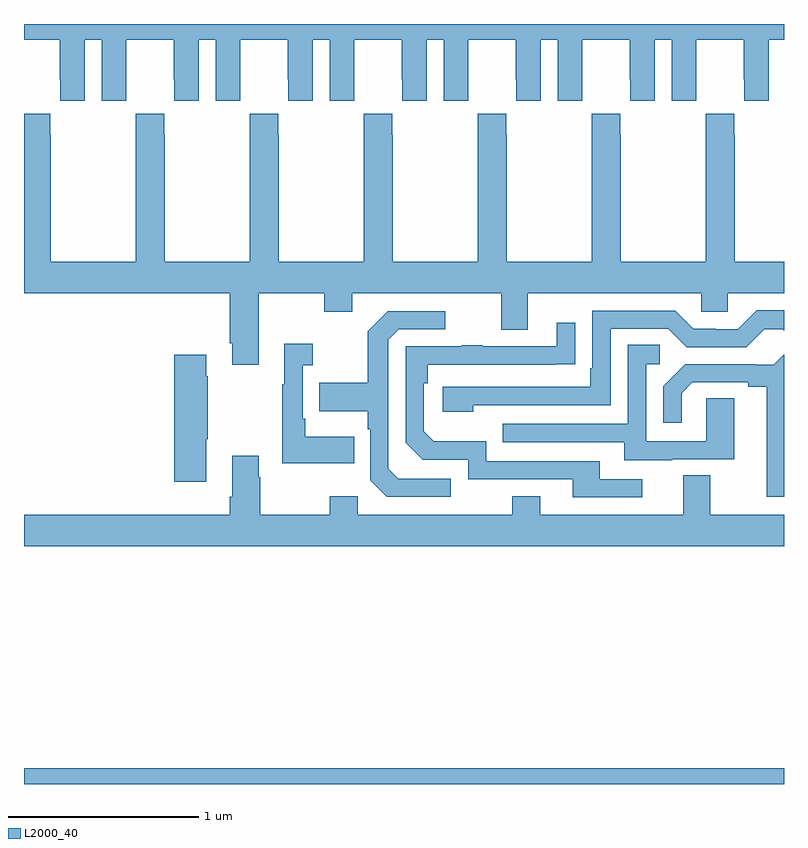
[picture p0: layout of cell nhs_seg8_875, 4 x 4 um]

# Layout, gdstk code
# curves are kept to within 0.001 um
import gdstk
lib = gdstk.Library(unit=1e-6, precision=1e-09)
def R(c, l, rs):  # rectangles x0, y0, x1, y1
    for r in rs: c.add(gdstk.rectangle(r[:2], r[2:], *l))
def P(c, l, *ps):  # polygons
    for p in ps: c.add(gdstk.Polygon(p, *l))
L2000_40 = (2000, 40)

nhs_seg8_875 = lib.new_cell('nhs_seg8_875')
R(nhs_seg8_875, L2000_40, [(167,1129.9,171,1129.984)])
P(nhs_seg8_875, L2000_40, [(167.32,1133.816),(167.408,1133.816),(167.408,1133.496),(167.538,1133.496),(167.538,1133.608),(167.539,1133.608),(167.539,1133.816),(167.789,1133.816),(167.789,1133.608),(167.79,1133.608),(167.79,1133.496),(167.92,1133.496),(167.92,1133.816),(168.008,1133.816),(168.008,1133.496),(168.138,1133.496),(168.138,1133.608),(168.139,1133.608),(168.139,1133.816),(168.389,1133.816),(168.389,1133.608),(168.39,1133.608),(168.39,1133.496),(168.52,1133.496),(168.52,1133.816),(168.608,1133.816),(168.608,1133.496),(168.738,1133.496),(168.738,1133.608),(168.739,1133.608),(168.739,1133.816),(168.989,1133.816),(168.989,1133.608),(168.99,1133.608),(168.99,1133.496),(169.12,1133.496),(169.12,1133.816),(169.208,1133.816),(169.208,1133.496),(169.338,1133.496),(169.338,1133.608),(169.339,1133.608),(169.339,1133.816),(169.589,1133.816),(169.589,1133.608),(169.59,1133.608),(169.59,1133.496),(169.72,1133.496),(169.72,1133.816),(169.808,1133.816),(169.808,1133.496),(169.938,1133.496),(169.938,1133.608),(169.939,1133.608),(169.939,1133.816),(170.189,1133.816),(170.189,1133.608),(170.19,1133.608),(170.19,1133.496),(170.32,1133.496),(170.32,1133.816),(170.408,1133.816),(170.408,1133.496),(170.538,1133.496),(170.538,1133.608),(170.539,1133.608),(170.539,1133.816),(170.789,1133.816),(170.789,1133.608),(170.79,1133.608),(170.79,1133.496),(170.92,1133.496),(170.92,1133.816),(171,1133.816),(171,1133.9),(167,1133.9),(167,1133.816),(167.189,1133.816),(167.189,1133.608),(167.19,1133.608),(167.19,1133.496),(167.32,1133.496)],
  [(168.789,1133.428),(168.789,1133.315),(168.787,1133.315),(168.787,1132.648),(168.342,1132.648),(168.342,1133.315),(168.339,1133.315),(168.339,1133.428),(168.189,1133.428),(168.189,1133.315),(168.187,1133.315),(168.187,1132.648),(167.742,1132.648),(167.742,1133.315),(167.739,1133.315),(167.739,1133.428),(167.589,1133.428),(167.589,1133.315),(167.587,1133.315),(167.587,1132.648),(167.142,1132.648),(167.142,1133.315),(167.139,1133.315),(167.139,1133.428),(167,1133.428),(167,1132.484),(168.083,1132.484),(168.083,1132.219),(168.095,1132.219),(168.095,1132.107),(168.235,1132.107),(168.235,1132.484),(168.58,1132.484),(168.58,1132.385),(168.727,1132.385),(168.727,1132.484),(169.511,1132.484),(169.511,1132.29),(169.651,1132.29),(169.651,1132.484),(170.565,1132.484),(170.565,1132.386),(170.703,1132.386),(170.703,1132.484),(171,1132.484),(171,1132.648),(170.742,1132.648),(170.742,1133.315),(170.739,1133.315),(170.739,1133.428),(170.589,1133.428),(170.589,1133.315),(170.587,1133.315),(170.587,1132.648),(170.142,1132.648),(170.142,1133.315),(170.139,1133.315),(170.139,1133.428),(169.989,1133.428),(169.989,1133.315),(169.987,1133.315),(169.987,1132.648),(169.542,1132.648),(169.542,1133.315),(169.539,1133.315),(169.539,1133.428),(169.389,1133.428),(169.389,1133.315),(169.387,1133.315),(169.387,1132.648),(168.942,1132.648),(168.942,1133.315),(168.939,1133.315),(168.939,1133.428)],
  [(169.364,1131.894),(170.088,1131.894),(170.088,1132.296),(170.391,1132.296),(170.487,1132.2),(170.802,1132.2),(170.895,1132.293),(170.995,1132.293),(170.995,1132.289),(171,1132.289),(171,1132.393),(170.857,1132.393),(170.757,1132.293),(170.642,1132.293),(170.642,1132.296),(170.523,1132.296),(170.427,1132.392),(169.992,1132.392),(169.992,1132.087),(169.979,1132.087),(169.979,1131.99),(169.203,1131.99),(169.203,1131.86),(169.364,1131.86)],
  [(169.246,1131.507),(168.969,1131.507),(168.918,1131.558),(168.918,1132.239),(168.972,1132.293),(169.216,1132.293),(169.216,1132.389),(168.915,1132.389),(168.81,1132.283),(168.81,1132.011),(168.553,1132.011),(168.553,1131.863),(168.81,1131.863),(168.81,1131.767),(168.822,1131.767),(168.822,1131.498),(168.909,1131.411),(169.246,1131.411)],
  [(170.254,1131.504),(170.029,1131.504),(170.029,1131.6),(169.434,1131.6),(169.434,1131.703),(169.157,1131.703),(169.104,1131.756),(169.104,1132.01),(169.124,1132.01),(169.124,1132.107),(169.901,1132.108),(169.901,1132.327),(169.805,1132.327),(169.805,1132.203),(169.415,1132.203),(169.415,1132.208),(169.303,1132.208),(169.303,1132.203),(169.008,1132.203),(169.008,1131.696),(169.098,1131.606),(169.338,1131.606),(169.338,1131.504),(169.889,1131.504),(169.889,1131.408),(170.254,1131.408)],
  [(168.737,1131.727),(168.481,1131.727),(168.481,1131.823),(168.468,1131.823),(168.468,1132.103),(168.52,1132.103),(168.52,1132.216),(168.371,1132.216),(168.371,1132.003),(168.36,1132.003),(168.36,1131.587),(168.737,1131.587)],
  [(170.413,1131.609),(170.737,1131.609),(170.737,1131.929),(170.592,1131.929),(170.592,1131.705),(170.274,1131.705),(170.274,1132.11),(170.347,1132.11),(170.347,1132.211),(170.178,1132.211),(170.178,1131.795),(169.519,1131.795),(169.519,1131.699),(170.159,1131.699),(170.159,1131.605),(170.413,1131.605)],
  [(167.959,1131.715),(167.967,1131.715),(167.967,1132.046),(167.959,1132.046),(167.959,1132.159),(167.792,1132.159),(167.792,1131.492),(167.959,1131.492)],
  [(171,1132.159),(170.998,1132.159),(170.946,1132.107),(170.852,1132.107),(170.852,1132.11),(170.48,1132.11),(170.364,1131.994),(170.364,1131.801),(170.461,1131.801),(170.461,1131.957),(170.518,1132.014),(170.813,1132.014),(170.813,1131.992),(170.909,1131.992),(170.909,1131.411),(171,1131.411)],
  [(171,1131.316),(170.611,1131.316),(170.611,1131.524),(170.471,1131.524),(170.471,1131.316),(169.717,1131.316),(169.717,1131.415),(169.57,1131.415),(169.57,1131.316),(168.756,1131.316),(168.756,1131.415),(168.61,1131.415),(168.61,1131.316),(168.243,1131.316),(168.243,1131.515),(168.235,1131.515),(168.235,1131.628),(168.095,1131.628),(168.095,1131.412),(168.083,1131.412),(168.083,1131.316),(167,1131.316),(167,1131.152),(171,1131.152)])

lib.write_gds('nhs_seg8_875.gds')
